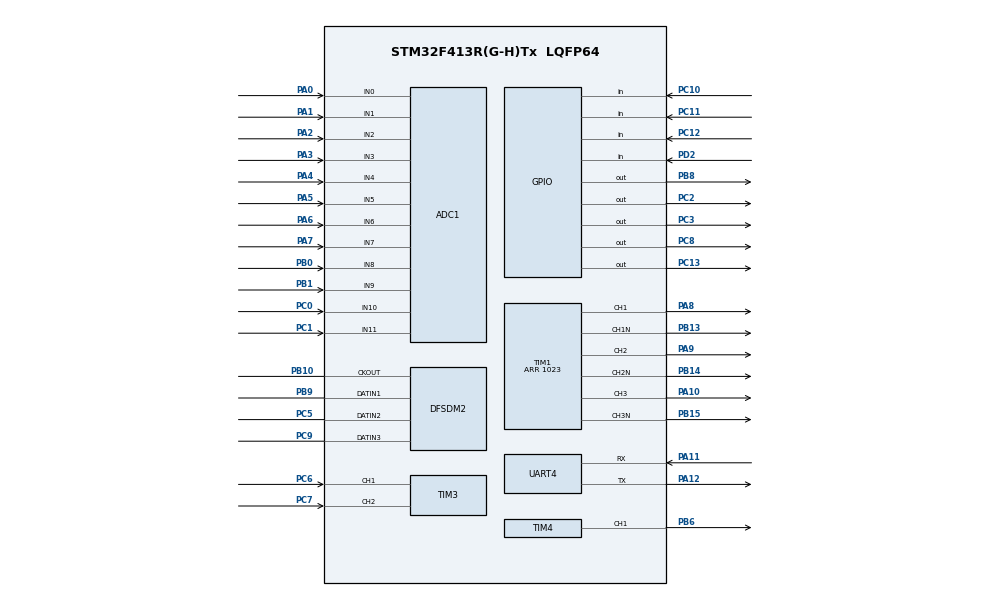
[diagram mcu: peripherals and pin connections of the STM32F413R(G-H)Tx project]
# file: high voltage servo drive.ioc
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ADC1.Channel-0\#ChannelRegularConversion=ADC_CHANNEL_0
ADC1.ContinuousConvMode=ENABLE
ADC1.NbrOfConversionFlag=1
ADC1.Rank-0\#ChannelRegularConversion=1
ADC1.SamplingTime-0\#ChannelRegularConversion=ADC_SAMPLETIME_3CYCLES
ADC1.ScanConvMode=ENABLE
ADC1.master=1
DFSDM2.FastMode_reg_FIL0=ENABLE
DFSDM2.FilterOrder_CH1=DFSDM_CHANNEL_FASTSINC_ORDER
DFSDM2.Filter_regChannel_FIL0=DFSDM_CHANNEL_1
DFSDM2.Filter_regChannel_FIL1=DFSDM_CHANNEL_2
DFSDM2.Filter_regChannel_FIL2=DFSDM_CHANNEL_3
DFSDM2.Fosr_FIL0=256
DFSDM2.Fosr_FIL1=256
DFSDM2.Fosr_FIL2=256
DFSDM2.Oversampling_CH1=32
DFSDM2.SincOrder_FIL0=DFSDM_FILTER_SINC3_ORDER
DFSDM2.SincOrder_FIL1=DFSDM_FILTER_SINC3_ORDER
DFSDM2.SincOrder_FIL2=DFSDM_FILTER_SINC3_ORDER
Mcu.Family=STM32F4
Mcu.Name=STM32F413R(G-H)Tx
Mcu.Package=LQFP64
NVIC.PriorityGroup=NVIC_PRIORITYGROUP_4
NVIC.TIM2_IRQn=true\:0\:0\:false\:false\:true\:true\:true\:true
PA0.Signal=ADCx_IN0
PA1.Signal=ADCx_IN1
PA10.Signal=S_TIM1_CH3
PA11.Mode=Asynchronous
PA11.Signal=UART4_RX
PA12.Mode=Asynchronous
PA12.Signal=UART4_TX
PA13.Mode=Serial_Wire
PA13.Signal=SYS_JTMS-SWDIO
PA14.Mode=Serial_Wire
PA14.Signal=SYS_JTCK-SWCLK
PA2.Signal=ADCx_IN2
PA3.Signal=ADCx_IN3
PA4.Signal=ADCx_IN4
PA5.Signal=ADCx_IN5
PA6.Signal=ADCx_IN6
PA7.Signal=ADCx_IN7
PA8.Signal=S_TIM1_CH1
PA9.Signal=S_TIM1_CH2
PB0.Signal=ADCx_IN8
PB1.Signal=ADCx_IN9
PB10.Signal=S_CKOUTDFSDM2
PB13.Mode=PWM Generation1 CH1 CH1N
PB13.Signal=TIM1_CH1N
PB14.Mode=PWM Generation2 CH2 CH2N
PB14.Signal=TIM1_CH2N
PB15.Mode=PWM Generation3 CH3 CH3N
PB15.Signal=TIM1_CH3N
PB3.Signal=SYS_JTDO-SWO
PB6.Signal=S_TIM4_CH1
PB8.GPIO_Speed=GPIO_SPEED_FREQ_HIGH
PB8.Signal=GPIO_Output
PB9.Signal=S_DATAIN1DFSDM2
PC0.Signal=ADCx_IN10
PC1.Signal=ADCx_IN11
PC10.Signal=GPIO_Input
PC11.Signal=GPIO_Input
PC12.Signal=GPIO_Input
PC13.Signal=GPIO_Output
PC2.Signal=GPIO_Output
PC3.Signal=GPIO_Output
PC5.Signal=S_DATAIN2DFSDM2
PC6.Signal=S_TIM3_CH1
PC7.Signal=S_TIM3_CH2
PC8.Signal=GPIO_Output
PC9.Signal=S_DATAIN3DFSDM2
PD2.Signal=GPIO_Input
ProjectManager.HeapSize=0x200
ProjectManager.StackSize=0x400
ProjectManager.TargetToolchain=STM32CubeIDE
RCC.CortexFreq_Value=16000000
RCC.USBFreq_Value=96000000
RCC.VCOOutputFreq_Value=192000000
SH.ADCx_IN0.0=ADC1_IN0,IN0
SH.ADCx_IN1.0=ADC1_IN1,IN1
SH.ADCx_IN10.0=ADC1_IN10,IN10
SH.ADCx_IN11.0=ADC1_IN11,IN11
SH.ADCx_IN2.0=ADC1_IN2,IN2
SH.ADCx_IN3.0=ADC1_IN3,IN3
SH.ADCx_IN4.0=ADC1_IN4,IN4
SH.ADCx_IN5.0=ADC1_IN5,IN5
SH.ADCx_IN6.0=ADC1_IN6,IN6
SH.ADCx_IN7.0=ADC1_IN7,IN7
SH.ADCx_IN8.0=ADC1_IN8,IN8
SH.ADCx_IN9.0=ADC1_IN9,IN9
SH.S_CKOUTDFSDM2.0=DFSDM2_CKOUT,PDM_SPI_input_from_ch2_and_internal_clock
SH.S_CKOUTDFSDM2.1=DFSDM2_CKOUT,PDM_SPI_input_from_ch1_and_internal_clock
SH.S_CKOUTDFSDM2.2=DFSDM2_CKOUT,PDM_SPI_input_from_ch3_and_internal_clock
SH.S_CKOUTDFSDM2.3=DFSDM2_CKOUT,CKOUT
SH.S_DATAIN1DFSDM2.0=DFSDM2_DATIN1,PDM_SPI_input_from_ch1_and_internal_clock
SH.S_DATAIN2DFSDM2.0=DFSDM2_DATIN2,PDM_SPI_input_from_ch2_and_internal_clock
SH.S_DATAIN3DFSDM2.0=DFSDM2_DATIN3,PDM_SPI_input_from_ch3_and_internal_clock
SH.S_TIM1_CH1.0=TIM1_CH1,PWM Generation1 CH1 CH1N
SH.S_TIM1_CH2.0=TIM1_CH2,PWM Generation2 CH2 CH2N
SH.S_TIM1_CH3.0=TIM1_CH3,PWM Generation3 CH3 CH3N
SH.S_TIM3_CH1.0=TIM3_CH1,Input_Capture1_from_TI1
SH.S_TIM3_CH2.0=TIM3_CH2,Input_Capture2_from_TI2
SH.S_TIM4_CH1.0=TIM4_CH1,PWM Generation1 CH1
TIM1.Channel-PWM\ Generation1\ CH1\ CH1N=TIM_CHANNEL_1
TIM1.Channel-PWM\ Generation2\ CH2\ CH2N=TIM_CHANNEL_2
TIM1.Channel-PWM\ Generation3\ CH3\ CH3N=TIM_CHANNEL_3
TIM1.OCIdleState_1=TIM_OCIDLESTATE_SET
TIM1.OCIdleState_2=TIM_OCIDLESTATE_SET
TIM1.OCIdleState_3=TIM_OCIDLESTATE_SET
TIM1.Period=1023
TIM2.AutoReloadPreload=TIM_AUTORELOAD_PRELOAD_DISABLE
TIM2.Period=244
TIM2.Prescaler=65536-1
TIM3.Channel-Input_Capture1_from_TI1=TIM_CHANNEL_1
TIM3.Channel-Input_Capture2_from_TI2=TIM_CHANNEL_2
TIM4.Channel-PWM\ Generation1\ CH1=TIM_CHANNEL_1
UART4.VirtualMode=Asynchronous
UART4.WordLength=WORDLENGTH_8B
VP_TIM1_VS_ClockSourceINT.Mode=Internal
VP_TIM2_VS_ClockSourceINT.Mode=Internal
VP_TIM4_VS_ClockSourceINT.Mode=Internal
board=custom

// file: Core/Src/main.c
/* USER CODE BEGIN Header */
/**
  ******************************************************************************
  * @file           : main.c
  * @brief          : Main program body
  ******************************************************************************
  * @attention
  *
  * Copyright (c) 2023 STMicroelectronics.
  * All rights reserved.
  *
  * This software is licensed under terms that can be found in the LICENSE file
  * in the root directory of this software component.
  * If no LICENSE file comes with this software, it is provided AS-IS.
  *
  ******************************************************************************
  */
/* USER CODE END Header */
#include "main.h"

/* USER CODE BEGIN Includes */

//#include "stm32f4xx_ll_bus.h"
//#include "stm32f4xx_ll_gpio.h"
//#include "stm32f4xx_ll_tim.h"
//#include "stm32f4xx_ll_rcc.h"
//#include "stm32f4xx_ll_system.h"
//#include "stm32f4xx_ll_utils.h"

/* USER CODE END Includes */

ADC_HandleTypeDef hadc1;

DFSDM_Filter_HandleTypeDef hdfsdm2_filter0;
DFSDM_Filter_HandleTypeDef hdfsdm2_filter1;
DFSDM_Filter_HandleTypeDef hdfsdm2_filter2;
DFSDM_Channel_HandleTypeDef hdfsdm2_channel1;
DFSDM_Channel_HandleTypeDef hdfsdm2_channel2;
DFSDM_Channel_HandleTypeDef hdfsdm2_channel3;

TIM_HandleTypeDef htim1;
TIM_HandleTypeDef htim2;
TIM_HandleTypeDef htim3;
TIM_HandleTypeDef htim4;

UART_HandleTypeDef huart4;

/* USER CODE BEGIN PV */
uint32_t dfsdmValue = 0;
/* USER CODE END PV */

void SystemClock_Config(void);
static void MX_GPIO_Init(void);
static void MX_ADC1_Init(void);
static void MX_DFSDM2_Init(void);
static void MX_TIM1_Init(void);
static void MX_TIM3_Init(void);
static void MX_TIM4_Init(void);
static void MX_UART4_Init(void);
static void MX_TIM2_Init(void);
/* USER CODE BEGIN PFP */
static void PWM_Init(void);
static void PWM_Enable(void);
/* USER CODE END PFP */

int main(void)
{

  /* MCU Configuration--------------------------------------------------------*/

  /* Reset of all peripherals, Initializes the Flash interface and the Systick. */
  HAL_Init();

  /* Configure the system clock */
  SystemClock_Config();

  /* Initialize all configured peripherals */
  MX_GPIO_Init();
  MX_ADC1_Init();
  MX_DFSDM2_Init();
  MX_TIM1_Init();
  MX_TIM3_Init();
  MX_TIM4_Init();
  MX_UART4_Init();
  MX_TIM2_Init();
  /* USER CODE BEGIN 2 */
  PWM_Init();
  HAL_TIM_Base_Start_IT(&htim2);
  /* USER CODE END 2 */

  /* Infinite loop */
  /* USER CODE BEGIN WHILE */

  PWM_Enable();

  HAL_DFSDM_FilterRegularStart(&hdfsdm2_filter0);

  TIM1->CCR1 = 256;

  while (1)
  {

  	  HAL_GPIO_TogglePin(GPIOC, GPIO_PIN_13);
  	  HAL_Delay(100);

    /* USER CODE END WHILE */

  }
}

void SystemClock_Config(void)
{
  RCC_OscInitTypeDef RCC_OscInitStruct = {0};
  RCC_ClkInitTypeDef RCC_ClkInitStruct = {0};

  /** Configure the main internal regulator output voltage
  */
  __HAL_RCC_PWR_CLK_ENABLE();
  __HAL_PWR_VOLTAGESCALING_CONFIG(PWR_REGULATOR_VOLTAGE_SCALE1);

  /** Initializes the RCC Oscillators according to the specified parameters
  * in the RCC_OscInitTypeDef structure.
  */
  RCC_OscInitStruct.OscillatorType = RCC_OSCILLATORTYPE_HSI;
  RCC_OscInitStruct.HSIState = RCC_HSI_ON;
  RCC_OscInitStruct.HSICalibrationValue = RCC_HSICALIBRATION_DEFAULT;
  RCC_OscInitStruct.PLL.PLLState = RCC_PLL_NONE;
  if (HAL_RCC_OscConfig(&RCC_OscInitStruct) != HAL_OK)
  {
    Error_Handler();
  }

  /** Initializes the CPU, AHB and APB buses clocks
  */
  RCC_ClkInitStruct.ClockType = RCC_CLOCKTYPE_HCLK|RCC_CLOCKTYPE_SYSCLK
                              |RCC_CLOCKTYPE_PCLK1|RCC_CLOCKTYPE_PCLK2;
  RCC_ClkInitStruct.SYSCLKSource = RCC_SYSCLKSOURCE_HSI;
  RCC_ClkInitStruct.AHBCLKDivider = RCC_SYSCLK_DIV1;
  RCC_ClkInitStruct.APB1CLKDivider = RCC_HCLK_DIV1;
  RCC_ClkInitStruct.APB2CLKDivider = RCC_HCLK_DIV1;

  if (HAL_RCC_ClockConfig(&RCC_ClkInitStruct, FLASH_LATENCY_0) != HAL_OK)
  {
    Error_Handler();
  }
}

static void MX_ADC1_Init(void)
{

  ADC_ChannelConfTypeDef sConfig = {0};

  /** Configure the global features of the ADC (Clock, Resolution, Data Alignment and number of conversion)
  */
  hadc1.Instance = ADC1;
  hadc1.Init.ClockPrescaler = ADC_CLOCK_SYNC_PCLK_DIV2;
  hadc1.Init.Resolution = ADC_RESOLUTION_12B;
  hadc1.Init.ScanConvMode = ENABLE;
  hadc1.Init.ContinuousConvMode = ENABLE;
  hadc1.Init.DiscontinuousConvMode = DISABLE;
  hadc1.Init.ExternalTrigConvEdge = ADC_EXTERNALTRIGCONVEDGE_NONE;
  hadc1.Init.ExternalTrigConv = ADC_SOFTWARE_START;
  hadc1.Init.DataAlign = ADC_DATAALIGN_RIGHT;
  hadc1.Init.NbrOfConversion = 1;
  hadc1.Init.DMAContinuousRequests = DISABLE;
  hadc1.Init.EOCSelection = ADC_EOC_SINGLE_CONV;
  if (HAL_ADC_Init(&hadc1) != HAL_OK)
  {
    Error_Handler();
  }

  /** Configure for the selected ADC regular channel its corresponding rank in the sequencer and its sample time.
  */
  sConfig.Channel = ADC_CHANNEL_0;
  sConfig.Rank = 1;
  sConfig.SamplingTime = ADC_SAMPLETIME_3CYCLES;
  if (HAL_ADC_ConfigChannel(&hadc1, &sConfig) != HAL_OK)
  {
    Error_Handler();
  }

}

static void MX_DFSDM2_Init(void)
{

  hdfsdm2_filter0.Instance = DFSDM2_Filter0;
  hdfsdm2_filter0.Init.RegularParam.Trigger = DFSDM_FILTER_SW_TRIGGER;
  hdfsdm2_filter0.Init.RegularParam.FastMode = ENABLE;
  hdfsdm2_filter0.Init.RegularParam.DmaMode = DISABLE;
  hdfsdm2_filter0.Init.FilterParam.SincOrder = DFSDM_FILTER_SINC3_ORDER;
  hdfsdm2_filter0.Init.FilterParam.Oversampling = 256;
  hdfsdm2_filter0.Init.FilterParam.IntOversampling = 1;
  if (HAL_DFSDM_FilterInit(&hdfsdm2_filter0) != HAL_OK)
  {
    Error_Handler();
  }
  hdfsdm2_filter1.Instance = DFSDM2_Filter1;
  hdfsdm2_filter1.Init.RegularParam.Trigger = DFSDM_FILTER_SW_TRIGGER;
  hdfsdm2_filter1.Init.RegularParam.FastMode = DISABLE;
  hdfsdm2_filter1.Init.RegularParam.DmaMode = DISABLE;
  hdfsdm2_filter1.Init.FilterParam.SincOrder = DFSDM_FILTER_SINC3_ORDER;
  hdfsdm2_filter1.Init.FilterParam.Oversampling = 256;
  hdfsdm2_filter1.Init.FilterParam.IntOversampling = 1;
  if (HAL_DFSDM_FilterInit(&hdfsdm2_filter1) != HAL_OK)
  {
    Error_Handler();
  }
  hdfsdm2_filter2.Instance = DFSDM2_Filter2;
  hdfsdm2_filter2.Init.RegularParam.Trigger = DFSDM_FILTER_SW_TRIGGER;
  hdfsdm2_filter2.Init.RegularParam.FastMode = DISABLE;
  hdfsdm2_filter2.Init.RegularParam.DmaMode = DISABLE;
  hdfsdm2_filter2.Init.FilterParam.SincOrder = DFSDM_FILTER_SINC3_ORDER;
  hdfsdm2_filter2.Init.FilterParam.Oversampling = 256;
  hdfsdm2_filter2.Init.FilterParam.IntOversampling = 1;
  if (HAL_DFSDM_FilterInit(&hdfsdm2_filter2) != HAL_OK)
  {
    Error_Handler();
  }
  hdfsdm2_channel1.Instance = DFSDM2_Channel1;
  hdfsdm2_channel1.Init.OutputClock.Activation = ENABLE;
  hdfsdm2_channel1.Init.OutputClock.Selection = DFSDM_CHANNEL_OUTPUT_CLOCK_SYSTEM;
  hdfsdm2_channel1.Init.OutputClock.Divider = 2;
  hdfsdm2_channel1.Init.Input.Multiplexer = DFSDM_CHANNEL_EXTERNAL_INPUTS;
  hdfsdm2_channel1.Init.Input.DataPacking = DFSDM_CHANNEL_STANDARD_MODE;
  hdfsdm2_channel1.Init.Input.Pins = DFSDM_CHANNEL_SAME_CHANNEL_PINS;
  hdfsdm2_channel1.Init.SerialInterface.Type = DFSDM_CHANNEL_SPI_RISING;
  hdfsdm2_channel1.Init.SerialInterface.SpiClock = DFSDM_CHANNEL_SPI_CLOCK_INTERNAL;
  hdfsdm2_channel1.Init.Awd.FilterOrder = DFSDM_CHANNEL_FASTSINC_ORDER;
  hdfsdm2_channel1.Init.Awd.Oversampling = 32;
  hdfsdm2_channel1.Init.Offset = 0;
  hdfsdm2_channel1.Init.RightBitShift = 0x00;
  if (HAL_DFSDM_ChannelInit(&hdfsdm2_channel1) != HAL_OK)
  {
    Error_Handler();
  }
  hdfsdm2_channel2.Instance = DFSDM2_Channel2;
  hdfsdm2_channel2.Init.OutputClock.Activation = ENABLE;
  hdfsdm2_channel2.Init.OutputClock.Selection = DFSDM_CHANNEL_OUTPUT_CLOCK_SYSTEM;
  hdfsdm2_channel2.Init.OutputClock.Divider = 2;
  hdfsdm2_channel2.Init.Input.Multiplexer = DFSDM_CHANNEL_EXTERNAL_INPUTS;
  hdfsdm2_channel2.Init.Input.DataPacking = DFSDM_CHANNEL_STANDARD_MODE;
  hdfsdm2_channel2.Init.Input.Pins = DFSDM_CHANNEL_SAME_CHANNEL_PINS;
  hdfsdm2_channel2.Init.SerialInterface.Type = DFSDM_CHANNEL_SPI_RISING;
  hdfsdm2_channel2.Init.SerialInterface.SpiClock = DFSDM_CHANNEL_SPI_CLOCK_INTERNAL;
  hdfsdm2_channel2.Init.Awd.FilterOrder = DFSDM_CHANNEL_FASTSINC_ORDER;
  hdfsdm2_channel2.Init.Awd.Oversampling = 1;
  hdfsdm2_channel2.Init.Offset = 0;
  hdfsdm2_channel2.Init.RightBitShift = 0x00;
  if (HAL_DFSDM_ChannelInit(&hdfsdm2_channel2) != HAL_OK)
  {
    Error_Handler();
  }
  hdfsdm2_channel3.Instance = DFSDM2_Channel3;
  hdfsdm2_channel3.Init.OutputClock.Activation = ENABLE;
  hdfsdm2_channel3.Init.OutputClock.Selection = DFSDM_CHANNEL_OUTPUT_CLOCK_SYSTEM;
  hdfsdm2_channel3.Init.OutputClock.Divider = 2;
  hdfsdm2_channel3.Init.Input.Multiplexer = DFSDM_CHANNEL_EXTERNAL_INPUTS;
  hdfsdm2_channel3.Init.Input.DataPacking = DFSDM_CHANNEL_STANDARD_MODE;
  hdfsdm2_channel3.Init.Input.Pins = DFSDM_CHANNEL_SAME_CHANNEL_PINS;
  hdfsdm2_channel3.Init.SerialInterface.Type = DFSDM_CHANNEL_SPI_RISING;
  hdfsdm2_channel3.Init.SerialInterface.SpiClock = DFSDM_CHANNEL_SPI_CLOCK_INTERNAL;
  hdfsdm2_channel3.Init.Awd.FilterOrder = DFSDM_CHANNEL_FASTSINC_ORDER;
  hdfsdm2_channel3.Init.Awd.Oversampling = 1;
  hdfsdm2_channel3.Init.Offset = 0;
  hdfsdm2_channel3.Init.RightBitShift = 0x00;
  if (HAL_DFSDM_ChannelInit(&hdfsdm2_channel3) != HAL_OK)
  {
    Error_Handler();
  }
  if (HAL_DFSDM_FilterConfigRegChannel(&hdfsdm2_filter0, DFSDM_CHANNEL_1, DFSDM_CONTINUOUS_CONV_ON) != HAL_OK)
  {
    Error_Handler();
  }
  if (HAL_DFSDM_FilterConfigRegChannel(&hdfsdm2_filter1, DFSDM_CHANNEL_2, DFSDM_CONTINUOUS_CONV_ON) != HAL_OK)
  {
    Error_Handler();
  }
  if (HAL_DFSDM_FilterConfigRegChannel(&hdfsdm2_filter2, DFSDM_CHANNEL_3, DFSDM_CONTINUOUS_CONV_ON) != HAL_OK)
  {
    Error_Handler();
  }

}

static void MX_TIM1_Init(void)
{

  TIM_ClockConfigTypeDef sClockSourceConfig = {0};
  TIM_MasterConfigTypeDef sMasterConfig = {0};
  TIM_OC_InitTypeDef sConfigOC = {0};
  TIM_BreakDeadTimeConfigTypeDef sBreakDeadTimeConfig = {0};

  htim1.Instance = TIM1;
  htim1.Init.Prescaler = 0;
  htim1.Init.CounterMode = TIM_COUNTERMODE_UP;
  htim1.Init.Period = 1023;
  htim1.Init.ClockDivision = TIM_CLOCKDIVISION_DIV1;
  htim1.Init.RepetitionCounter = 0;
  htim1.Init.AutoReloadPreload = TIM_AUTORELOAD_PRELOAD_DISABLE;
  if (HAL_TIM_Base_Init(&htim1) != HAL_OK)
  {
    Error_Handler();
  }
  sClockSourceConfig.ClockSource = TIM_CLOCKSOURCE_INTERNAL;
  if (HAL_TIM_ConfigClockSource(&htim1, &sClockSourceConfig) != HAL_OK)
  {
    Error_Handler();
  }
  if (HAL_TIM_PWM_Init(&htim1) != HAL_OK)
  {
    Error_Handler();
  }
  sMasterConfig.MasterOutputTrigger = TIM_TRGO_RESET;
  sMasterConfig.MasterSlaveMode = TIM_MASTERSLAVEMODE_DISABLE;
  if (HAL_TIMEx_MasterConfigSynchronization(&htim1, &sMasterConfig) != HAL_OK)
  {
    Error_Handler();
  }
  sConfigOC.OCMode = TIM_OCMODE_PWM1;
  sConfigOC.Pulse = 0;
  sConfigOC.OCPolarity = TIM_OCPOLARITY_HIGH;
  sConfigOC.OCNPolarity = TIM_OCNPOLARITY_HIGH;
  sConfigOC.OCFastMode = TIM_OCFAST_DISABLE;
  sConfigOC.OCIdleState = TIM_OCIDLESTATE_SET;
  sConfigOC.OCNIdleState = TIM_OCNIDLESTATE_RESET;
  if (HAL_TIM_PWM_ConfigChannel(&htim1, &sConfigOC, TIM_CHANNEL_1) != HAL_OK)
  {
    Error_Handler();
  }
  if (HAL_TIM_PWM_ConfigChannel(&htim1, &sConfigOC, TIM_CHANNEL_2) != HAL_OK)
  {
    Error_Handler();
  }
  if (HAL_TIM_PWM_ConfigChannel(&htim1, &sConfigOC, TIM_CHANNEL_3) != HAL_OK)
  {
    Error_Handler();
  }
  sBreakDeadTimeConfig.OffStateRunMode = TIM_OSSR_DISABLE;
  sBreakDeadTimeConfig.OffStateIDLEMode = TIM_OSSI_DISABLE;
  sBreakDeadTimeConfig.LockLevel = TIM_LOCKLEVEL_OFF;
  sBreakDeadTimeConfig.DeadTime = 0;
  sBreakDeadTimeConfig.BreakState = TIM_BREAK_DISABLE;
  sBreakDeadTimeConfig.BreakPolarity = TIM_BREAKPOLARITY_HIGH;
  sBreakDeadTimeConfig.AutomaticOutput = TIM_AUTOMATICOUTPUT_DISABLE;
  if (HAL_TIMEx_ConfigBreakDeadTime(&htim1, &sBreakDeadTimeConfig) != HAL_OK)
  {
    Error_Handler();
  }
  HAL_TIM_MspPostInit(&htim1);

}

static void MX_TIM2_Init(void)
{

  TIM_ClockConfigTypeDef sClockSourceConfig = {0};
  TIM_MasterConfigTypeDef sMasterConfig = {0};

  htim2.Instance = TIM2;
  htim2.Init.Prescaler = 65536-1;
  htim2.Init.CounterMode = TIM_COUNTERMODE_UP;
  htim2.Init.Period = 244;
  htim2.Init.ClockDivision = TIM_CLOCKDIVISION_DIV1;
  htim2.Init.AutoReloadPreload = TIM_AUTORELOAD_PRELOAD_DISABLE;
  if (HAL_TIM_Base_Init(&htim2) != HAL_OK)
  {
    Error_Handler();
  }
  sClockSourceConfig.ClockSource = TIM_CLOCKSOURCE_INTERNAL;
  if (HAL_TIM_ConfigClockSource(&htim2, &sClockSourceConfig) != HAL_OK)
  {
    Error_Handler();
  }
  sMasterConfig.MasterOutputTrigger = TIM_TRGO_RESET;
  sMasterConfig.MasterSlaveMode = TIM_MASTERSLAVEMODE_DISABLE;
  if (HAL_TIMEx_MasterConfigSynchronization(&htim2, &sMasterConfig) != HAL_OK)
  {
    Error_Handler();
  }

}

static void MX_TIM3_Init(void)
{

  TIM_MasterConfigTypeDef sMasterConfig = {0};
  TIM_IC_InitTypeDef sConfigIC = {0};

  htim3.Instance = TIM3;
  htim3.Init.Prescaler = 0;
  htim3.Init.CounterMode = TIM_COUNTERMODE_UP;
  htim3.Init.Period = 65535;
  htim3.Init.ClockDivision = TIM_CLOCKDIVISION_DIV1;
  htim3.Init.AutoReloadPreload = TIM_AUTORELOAD_PRELOAD_DISABLE;
  if (HAL_TIM_IC_Init(&htim3) != HAL_OK)
  {
    Error_Handler();
  }
  sMasterConfig.MasterOutputTrigger = TIM_TRGO_RESET;
  sMasterConfig.MasterSlaveMode = TIM_MASTERSLAVEMODE_DISABLE;
  if (HAL_TIMEx_MasterConfigSynchronization(&htim3, &sMasterConfig) != HAL_OK)
  {
    Error_Handler();
  }
  sConfigIC.ICPolarity = TIM_INPUTCHANNELPOLARITY_RISING;
  sConfigIC.ICSelection = TIM_ICSELECTION_DIRECTTI;
  sConfigIC.ICPrescaler = TIM_ICPSC_DIV1;
  sConfigIC.ICFilter = 0;
  if (HAL_TIM_IC_ConfigChannel(&htim3, &sConfigIC, TIM_CHANNEL_1) != HAL_OK)
  {
    Error_Handler();
  }
  if (HAL_TIM_IC_ConfigChannel(&htim3, &sConfigIC, TIM_CHANNEL_2) != HAL_OK)
  {
    Error_Handler();
  }

}

static void MX_TIM4_Init(void)
{

  TIM_ClockConfigTypeDef sClockSourceConfig = {0};
  TIM_MasterConfigTypeDef sMasterConfig = {0};
  TIM_OC_InitTypeDef sConfigOC = {0};

  htim4.Instance = TIM4;
  htim4.Init.Prescaler = 0;
  htim4.Init.CounterMode = TIM_COUNTERMODE_UP;
  htim4.Init.Period = 65535;
  htim4.Init.ClockDivision = TIM_CLOCKDIVISION_DIV1;
  htim4.Init.AutoReloadPreload = TIM_AUTORELOAD_PRELOAD_DISABLE;
  if (HAL_TIM_Base_Init(&htim4) != HAL_OK)
  {
    Error_Handler();
  }
  sClockSourceConfig.ClockSource = TIM_CLOCKSOURCE_INTERNAL;
  if (HAL_TIM_ConfigClockSource(&htim4, &sClockSourceConfig) != HAL_OK)
  {
    Error_Handler();
  }
  if (HAL_TIM_PWM_Init(&htim4) != HAL_OK)
  {
    Error_Handler();
  }
  sMasterConfig.MasterOutputTrigger = TIM_TRGO_RESET;
  sMasterConfig.MasterSlaveMode = TIM_MASTERSLAVEMODE_DISABLE;
  if (HAL_TIMEx_MasterConfigSynchronization(&htim4, &sMasterConfig) != HAL_OK)
  {
    Error_Handler();
  }
  sConfigOC.OCMode = TIM_OCMODE_PWM1;
  sConfigOC.Pulse = 0;
  sConfigOC.OCPolarity = TIM_OCPOLARITY_HIGH;
  sConfigOC.OCFastMode = TIM_OCFAST_DISABLE;
  if (HAL_TIM_PWM_ConfigChannel(&htim4, &sConfigOC, TIM_CHANNEL_1) != HAL_OK)
  {
    Error_Handler();
  }
  HAL_TIM_MspPostInit(&htim4);

}

static void MX_UART4_Init(void)
{

  huart4.Instance = UART4;
  huart4.Init.BaudRate = 115200;
  huart4.Init.WordLength = UART_WORDLENGTH_8B;
  huart4.Init.StopBits = UART_STOPBITS_1;
  huart4.Init.Parity = UART_PARITY_NONE;
  huart4.Init.Mode = UART_MODE_TX_RX;
  huart4.Init.HwFlowCtl = UART_HWCONTROL_NONE;
  huart4.Init.OverSampling = UART_OVERSAMPLING_16;
  if (HAL_UART_Init(&huart4) != HAL_OK)
  {
    Error_Handler();
  }

}

static void MX_GPIO_Init(void)
{
  GPIO_InitTypeDef GPIO_InitStruct = {0};

  /* GPIO Ports Clock Enable */
  __HAL_RCC_GPIOC_CLK_ENABLE();
  __HAL_RCC_GPIOA_CLK_ENABLE();
  __HAL_RCC_GPIOB_CLK_ENABLE();
  __HAL_RCC_GPIOD_CLK_ENABLE();

  /*Configure GPIO pin Output Level */
  HAL_GPIO_WritePin(GPIOC, GPIO_PIN_13|GPIO_PIN_2|GPIO_PIN_3|GPIO_PIN_8, GPIO_PIN_RESET);

  /*Configure GPIO pin Output Level */
  HAL_GPIO_WritePin(GPIOB, GPIO_PIN_8, GPIO_PIN_RESET);

  /*Configure GPIO pins : PC13 PC2 PC3 PC8 */
  GPIO_InitStruct.Pin = GPIO_PIN_13|GPIO_PIN_2|GPIO_PIN_3|GPIO_PIN_8;
  GPIO_InitStruct.Mode = GPIO_MODE_OUTPUT_PP;
  GPIO_InitStruct.Pull = GPIO_NOPULL;
  GPIO_InitStruct.Speed = GPIO_SPEED_FREQ_LOW;
  HAL_GPIO_Init(GPIOC, &GPIO_InitStruct);

  /*Configure GPIO pins : PC10 PC11 PC12 */
  GPIO_InitStruct.Pin = GPIO_PIN_10|GPIO_PIN_11|GPIO_PIN_12;
  GPIO_InitStruct.Mode = GPIO_MODE_INPUT;
  GPIO_InitStruct.Pull = GPIO_NOPULL;
  HAL_GPIO_Init(GPIOC, &GPIO_InitStruct);

  /*Configure GPIO pin : PD2 */
  GPIO_InitStruct.Pin = GPIO_PIN_2;
  GPIO_InitStruct.Mode = GPIO_MODE_INPUT;
  GPIO_InitStruct.Pull = GPIO_NOPULL;
  HAL_GPIO_Init(GPIOD, &GPIO_InitStruct);

  /*Configure GPIO pin : PB8 */
  GPIO_InitStruct.Pin = GPIO_PIN_8;
  GPIO_InitStruct.Mode = GPIO_MODE_OUTPUT_PP;
  GPIO_InitStruct.Pull = GPIO_NOPULL;
  GPIO_InitStruct.Speed = GPIO_SPEED_FREQ_HIGH;
  HAL_GPIO_Init(GPIOB, &GPIO_InitStruct);

}

/* USER CODE BEGIN 4 */

static void PWM_Init(void){

	RCC->AHB1ENR 	|= RCC_AHB1ENR_GPIOAEN;	// Enable GPIOA Clock
	RCC->AHB1ENR 	|= RCC_AHB1ENR_GPIOBEN;	// Enable GPIOB Clock
	RCC->APB2ENR 	|= RCC_APB2ENR_TIM1EN;	// Enable TIM1 Clock

	GPIOA->MODER	|= (0x2 << (2*8));		// Set PA8 to alternate function mode
	GPIOA->AFR[1]	|= (0x1 << (4*(8-8)));	// Set PA8's alternate function

	GPIOB->MODER	|= (0x2 << (2*13));		// Set PB13 to alternate function mode
	GPIOB->AFR[1]	|= (0x1 << (4*(13-8)));	// Set PB13's alternate function

//	TIM1->CR1	= 0x0000;
//	TIM1->CR2	= 0x0000;
//	TIM1->DIER	= 0x0000;
//	TIM1->SR	= 0x0000;
//	TIM1->EGR	= 0x0000;
	TIM1->CCMR1	= 0x6868;
	TIM1->CCMR2	= 0x0068;
	TIM1->CCER	= 0x0555;
//	TIM1->CNT	= 0x0000;
	TIM1->PSC	= 0x0000;	// Prescaler
	TIM1->ARR	= 0x03ff;	// Period
//	TIM1->RCR	= 0x0000;
//	TIM1->CCR1	= 0x0000;
//	TIM1->CCR2	= 0x0000;
//	TIM1->CCR2	= 0x0000;
//	TIM1->CCR3	= 0x0000;
//	TIM1->CCR4	= 0x0000;
	TIM1->BDTR	= 0xa001;
//	TIM1->DCR	= 0x0000;
//	TIM1->DMAR	= 0x0000;

}

static void PWM_Enable(void){

	TIM1->CR1	|= 0x0001;

}

void TransmitDFSDMValue() {
    uint8_t dataToSend[4];
    // Assuming dfsdmValue is int32_t, you should send the bytes of this integer
    dataToSend[0] = (uint8_t)(dfsdmValue >> 24);
    dataToSend[1] = (uint8_t)(dfsdmValue >> 16);
    dataToSend[2] = (uint8_t)(dfsdmValue >> 8);
    dataToSend[3] = (uint8_t)dfsdmValue;
//    dataToSend[0] = 't';
//    dataToSend[1] = 'e';
//    dataToSend[2] = 's';
//    dataToSend[3] = 't';

    // Transmit the data over UART4
//    HAL_UART_Transmit(&huart4, dataToSend, sizeof(dataToSend), HAL_MAX_DELAY);
    HAL_UART_Transmit(&huart4, dataToSend, 4, HAL_MAX_DELAY);
}

void HAL_TIM_PeriodElapsedCallback(TIM_HandleTypeDef *htim) {
    if (htim->Instance == TIM2) { // Check if the interrupt came from TIM2
        // Get the regular value of DFSDM filter
        HAL_DFSDM_FilterGetRegularValue(&hdfsdm2_filter0, &dfsdmValue);
        // Transmit the value over UART
        TransmitDFSDMValue();
    }
}

/* USER CODE END 4 */

void Error_Handler(void)
{
  __disable_irq();
  while (1)
  {
  }
}
